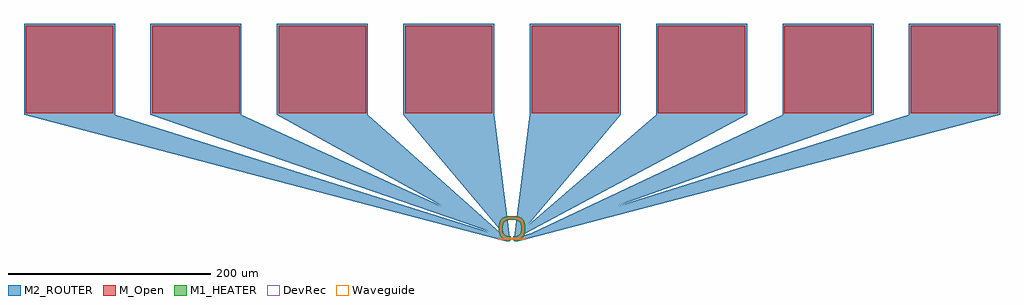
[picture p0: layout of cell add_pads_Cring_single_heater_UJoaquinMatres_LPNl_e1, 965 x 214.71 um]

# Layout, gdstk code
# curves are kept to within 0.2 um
import gdstk
lib = gdstk.Library(unit=1e-6, precision=1e-09)
def R(c, l, rs):  # rectangles x0, y0, x1, y1
    for r in rs: c.add(gdstk.rectangle(r[:2], r[2:], *l))
def P(c, l, *ps):  # polygons
    for p in ps: c.add(gdstk.Polygon(p, *l))
Waveguide = (1, 0)
M1_HEATER = (11, 0)
M2_ROUTER = (12, 0)
M_Open = (13, 0)
DevRec = (68, 0)

ring_single_heater_g0p2_ = lib.new_cell('ring_single_heater_G0p2_R10_LX2_LY0p01_CRcoupler_ring_C_ffdbd82e')
R(ring_single_heater_g0p2_, Waveguide, [(-15,-0.25,13,0.25)])
P(ring_single_heater_g0p2_, Waveguide, [(-2.416,0.45),(-4.233,0.497),(-5.496,0.63),(-6.609,0.864),(-7.688,1.243),(-8.7,1.784),(-9.615,2.476),(-10.41,3.303),(-11.066,4.245),(-11.567,5.277),(-11.907,6.368),(-12.128,7.625),(-12.225,8.888),(-12.248,11.544),(-12.171,13.364),(-11.939,14.904),(-11.567,16.133),(-10.992,17.289),(-10.127,18.431),(-9.171,19.298),(-7.949,20.047),(-6.902,20.46),(-2.415,20.46),(-4.065,20.422),(-5.285,20.306),(-6.477,20.063),(-7.488,19.709),(-8.431,19.205),(-9.283,18.56),(-10.024,17.789),(-10.635,16.913),(-11.051,16.075),(-11.388,15.056),(-11.596,13.995),(-11.719,12.638),(-11.748,9.87),(-11.685,8.226),(-11.506,6.88),(-11.194,5.71),(-10.887,4.969),(-10.422,4.157),(-9.938,3.518),(-9.382,2.94),(-8.762,2.431),(-8.087,1.999),(-6.606,1.383),(-4.881,1.053),(-2.83,0.952),(1.928,0.981),(3.151,1.086),(4.216,1.28),(5.116,1.551),(5.851,1.873),(6.653,2.354),(7.382,2.94),(8.024,3.621),(8.566,4.383),(8.999,5.212),(9.317,6.094),(9.576,7.28),(9.712,8.635),(9.704,12.912),(9.576,14.13),(9.353,15.187),(9.051,16.075),(8.635,16.913),(7.85,17.993),(6.762,18.979),(5.488,19.709),(4.084,20.161),(2.881,20.357),(1.38,20.449),(-6.902,20.46),(-5.636,20.758),(-4.233,20.913),(1.253,20.952),(3.636,20.758),(4.609,20.546),(5.423,20.277),(6.205,19.916),(6.939,19.466),(7.615,18.934),(8.224,18.325),(8.756,17.649),(9.206,16.915),(9.567,16.133),(9.836,15.319),(10.048,14.346),(10.194,13.083),(10.239,9.308),(10.048,7.064),(9.836,6.091),(9.567,5.277),(8.916,4),(7.928,2.772),(6.7,1.784),(5.423,1.133),(4.194,0.761),(2.654,0.529),(1.253,0.458)])
P(ring_single_heater_g0p2_, M1_HEATER, [(-7,-2),(-7,-0.842),(-9.644,0.31),(-11.649,2.057),(-12.832,3.828),(-13.567,5.794),(-13.967,8.663),(-13.9,13.676),(-13.374,16.276),(-12.39,18.354),(-11.166,19.876),(-9.493,21.194),(-7.732,22.028),(-5.603,22.533),(3.124,22.593),(5.566,22.084),(7.644,21.1),(9.166,19.876),(10.39,18.354),(11.259,16.607),(11.8,14.474),(11.865,7.417),(11.318,4.968),(10.39,3.056),(8.085,0.611),(5,-0.842),(5,-2),(1,-2),(1,-1.296),(0,-1.3),(0,2.7),(2.924,2.821),(4.787,3.305),(6.266,4.293),(7.355,5.823),(7.986,9.235),(7.949,12.924),(7.607,14.926),(6.194,17.185),(3.911,18.403),(-2.681,18.709),(-6.116,18.347),(-8.266,17.117),(-9.575,15.025),(-9.986,12.175),(-9.767,7.107),(-8.911,5.048),(-7.318,3.575),(-5.152,2.853),(-2,2.7),(-2,-1.3),(-3,-1.296),(-3,-2)])
R(ring_single_heater_g0p2_, M2_ROUTER, [(-7,-2,-3,2), (1,-2,5,2)])
P(ring_single_heater_g0p2_, DevRec, [(-15,-0.75),(-15,0.75),(-7.807,0.75),(-9.714,1.903),(-11.167,3.475),(-12.187,5.525),(-12.656,7.856),(-12.73,12.4),(-12.393,15.159),(-11.419,17.55),(-9.714,19.507),(-9.102,19.96),(-2.414,19.96),(-6.099,19.644),(-8.568,18.5),(-9.637,17.472),(-10.382,16.334),(-10.904,14.932),(-11.175,13.276),(-11.135,7.743),(-10.762,5.994),(-10.14,4.644),(-9.042,3.307),(-7.624,2.318),(-5.975,1.737),(-4.038,1.487),(1.368,1.461),(3.724,1.684),(5.624,2.318),(7.308,3.567),(8.49,5.299),(9.101,7.485),(9.231,12.347),(8.871,15.054),(8.265,16.552),(7.221,17.931),(5.842,18.975),(4.344,19.581),(1.368,19.949),(-9.102,19.96),(-7.319,20.848),(-5.135,21.334),(2.554,21.392),(4.449,21.103),(6.029,20.562),(7.594,19.603),(8.797,18.424),(9.915,16.599),(10.564,14.283),(10.75,10.282),(10.541,6.981),(9.975,4.952),(8.986,3.227),(7.594,1.807),(5.807,0.75),(13,0.75),(13,-0.75)])
ring_single_heater_g0p2_.add(gdstk.Label('elec_JoaquinMatres-ring.single.heater.G0p2.R10.LX2.LY0p01.CRcoupler.ring.C.ffdbd82e$1_G', (-7,0), layer=10, texttype=0))

pad_s90_90_lmtop_pi0_po2 = lib.new_cell('pad_S90_90_LMTOP_PI0_PO270_PONone')
R(pad_s90_90_lmtop_pi0_po2, M2_ROUTER, [(-45,-45,45,45)])
R(pad_s90_90_lmtop_pi0_po2, M_Open, [(-43.2,-43.2,43.2,43.2)])

pad_array_ppad_c8_r1_cp1 = lib.new_cell('pad_array_Ppad_C8_R1_CP125_RP125_PO270_SNone_LNone_CPFa_51150553')
r = gdstk.Reference(pad_s90_90_lmtop_pi0_po2, (0,0)); r.repetition = gdstk.Repetition(8, 1, v1=(125,0), v2=(0,0)); pad_array_ppad_c8_r1_cp1.add(r)

add_pads_cring_single_he = lib.new_cell('add_pads_Cring_single_heater_UJoaquinMatres_LPNl_e1')
P(add_pads_cring_single_he, M2_ROUTER, [(-7,-2),(-483.5,122.71),(-393.5,122.71),(-7,2)],
  [(-7,2),(-358.5,122.71),(-268.5,122.71),(-3,2)],
  [(-7,-2),(-233.5,122.71),(-143.5,122.71),(-3,-2)],
  [(-3,-2),(-108.5,122.71),(-18.5,122.71),(-3,2)],
  [(1,-2),(1,2),(16.5,122.71),(106.5,122.71)],
  [(1,2),(141.5,122.71),(231.5,122.71),(5,2)],
  [(1,-2),(266.5,122.71),(356.5,122.71),(5,-2)],
  [(5,-2),(5,2),(391.5,122.71),(481.5,122.71)])
add_pads_cring_single_he.add(gdstk.Reference(ring_single_heater_g0p2_, (0,0)))
add_pads_cring_single_he.add(gdstk.Reference(pad_array_ppad_c8_r1_cp1, (-438.5,167.71)))

lib.write_gds('add_pads_Cring_single_heater_UJoaquinMatres_LPNl_e1.gds')
